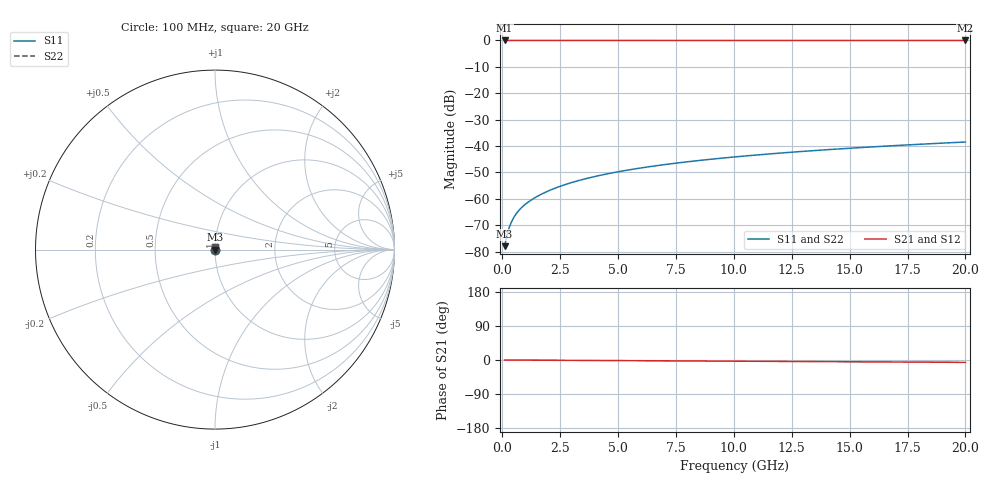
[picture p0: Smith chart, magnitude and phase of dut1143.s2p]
! Touchstone file exported from HFSS 2026.1.0
!  File:  C:/ffzhzh/LocalFiles/Ansys_Project_Files/temp_train_TSV_1143_1783191428_22436.aedt
!  Generated:  02:58:44 AM Jul  5, 2026
!  Design:  TSV
!  Project:  temp_train_TSV_1143_1783191428_22436
! Variables:
!  h_bsmrdl = 2um
!  h_ox = 20um
!  h_rdl = 5um
!  h_sub = 57.29um
!  h_tmrdl = 5um
!  h_tsv = 57.29um
!  h_via = 3um
!  l_bsmrdl = 300um
!  l_sub = 421.7um
!  l_tmrdl = 200um
!  m_sub = 200um
!  pitch = 48.53um
!  r_tsv = 10.85um
!  s_tmrdl = 10um
!  w_bsmrdl = 18um
!  w_sub = 500um
!  w_tmrdl = 12um
!  x_tsv_center1 = 206um
!  x_tsv_center2 = 524um
!  x_tsv_center3 = 736um
!  x_tsv_center4 = 1054um
!  x_tsv_center5 = 1266um
!  x_tsv_center6 = 1584um
# GHz S MA R 50.000000
! Terminal data exported
! Port[1] = TSV1_1_T1
! Port[2] = TSV1_1_T2
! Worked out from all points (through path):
!   200 points, 100 MHz to 20 GHz, reference 50 ohm
!   highest |S21| = 0.00 dB at 100 MHz (marker M1); lowest = 0.0 dB at 20 GHz (marker M2)
!   lowest |S11| = -77.9 dB at 100 MHz (marker M3), VSWR 1.00, Z = 50 + j0.0091 ohm
!   |S11| at or under -10 dB: start of sweep to end of sweep
!   |S22| runs from -77.9 to -38.5 dB; largest |S21 - S12| = 3.8e-15
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0.1  0.0001269 45.8  0.9999 -0.0  0.9999 -0.0  0.0001269 45.8
! Gamma 0 0 0 0
! Port Impedance 50 0 50 0
0.2  0.0002046 61.5  0.9999 -0.1  0.9999 -0.1  0.0002046 61.5
0.3  0.0002873 67.3  0.9999 -0.1  0.9999 -0.1  0.0002873 67.3
0.4  0.0003685 69.8  0.9999 -0.1  0.9999 -0.1  0.0003685 69.8
0.5  0.0004463 71.0  0.9999 -0.2  0.9999 -0.2  0.0004463 71.0
0.6  0.0005207 71.8  0.9998 -0.2  0.9998 -0.2  0.0005207 71.8
0.7  0.0005919 72.3  0.9998 -0.2  0.9998 -0.2  0.0005919 72.3
0.8  0.0006605 72.8  0.9998 -0.3  0.9998 -0.3  0.0006605 72.8
1  0.0007923 73.7  0.9998 -0.3  0.9998 -0.3  0.0007923 73.7
1.4  0.001045 75.3  0.9997 -0.4  0.9997 -0.4  0.001045 75.3
1.7  0.001232 76.3  0.9997 -0.5  0.9997 -0.5  0.001232 76.3
2  0.001418 77.2  0.9997 -0.6  0.9997 -0.6  0.001418 77.2
2.7  0.001851 78.6  0.9997 -0.8  0.9997 -0.8  0.001851 78.6
3.5  0.002344 79.6  0.9996 -1.1  0.9996 -1.1  0.002344 79.6
4.2  0.002772 80.0  0.9996 -1.3  0.9996 -1.3  0.002772 80.0
5  0.003256 80.4  0.9995 -1.6  0.9995 -1.6  0.003256 80.4
6.8  0.004329 80.8  0.9995 -2.1  0.9995 -2.1  0.004329 80.8
8.3  0.00521 80.9  0.9994 -2.6  0.9994 -2.6  0.00521 80.9
10.1  0.006259 80.9  0.9993 -3.1  0.9993 -3.1  0.006259 80.9
13.4  0.008166 80.6  0.9992 -4.2  0.9992 -4.2  0.008166 80.6
16.7  0.01005 80.0  0.9991 -5.2  0.9991 -5.2  0.01006 80.0
20  0.01192 79.4  0.999 -6.2  0.999 -6.2  0.01192 79.4
